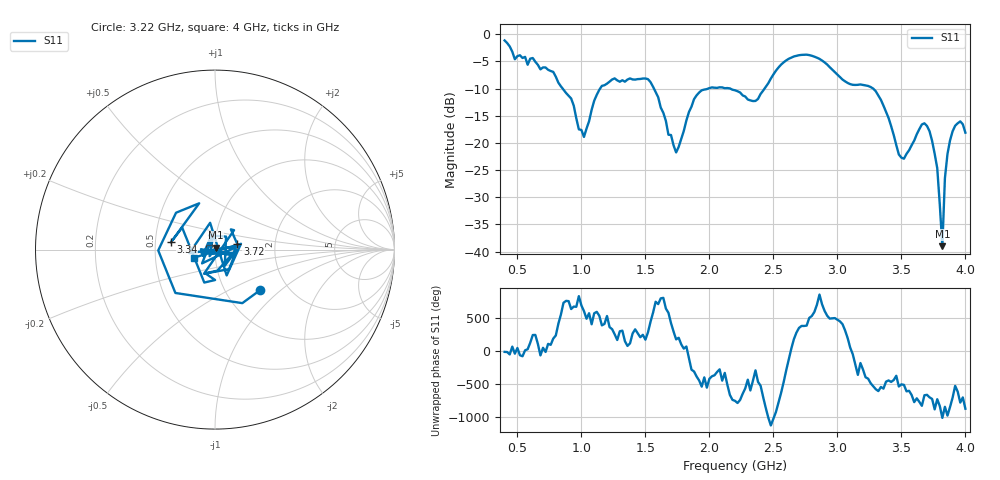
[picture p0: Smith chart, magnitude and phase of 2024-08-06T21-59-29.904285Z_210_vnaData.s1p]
!Created with skrf (http://scikit-rf.org).
# Hz S RI R 50.0
!freq ReS11 ImS11
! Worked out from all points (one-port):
!   181 points, 400 MHz to 4 GHz, reference 50 ohm
!   lowest |S11| = -39.0 dB at 3.82 GHz (marker M1), VSWR 1.02, Z = 50.5 + j1 ohm
!   |S11| at or under -10 dB: 854 MHz to 1.146 GHz (291.8 MHz wide, 29.2 % of centre); 1.567 GHz to 1.989 GHz (422.3 MHz wide, 23.8 % of centre); 3.28 GHz to end of sweep (the widest 3 of 4)
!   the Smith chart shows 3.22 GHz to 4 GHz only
!   S11 on the Smith chart (normalised r, x): 3.22 GHz: 1.46, -0.74; 3.34 GHz: 0.60, +0.05; 3.72 GHz: 1.28, +0.08; 4 GHz: 0.79, -0.07
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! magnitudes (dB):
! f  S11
! 400 MHz  -1.1
! 480 MHz  -4.6
! 620 MHz  -4.4
! 860 MHz  -10.2
! 1.02 GHz  -18.9
! 1.14 GHz  -10.2
! 1.3 GHz  -8.7
! 1.52 GHz  -8.3
! 1.74 GHz  -21.7
! 1.76 GHz  -20.7
! 1.92 GHz  -10.7
! 2.2 GHz  -10.3
! 2.36 GHz  -12.3
! 2.66 GHz  -4.1
! 2.86 GHz  -4.5
! 3.1 GHz  -9.2
! 3.22 GHz  -9.4
! 3.34 GHz  -12.1
! 3.48 GHz  -22.1
! 3.56 GHz  -21.3
! 3.66 GHz  -16.6
! 3.72 GHz  -17.9
! 3.78 GHz  -24.6
! 3.82 GHz  -39.0
! 3.84 GHz  -26.5
! 3.88 GHz  -19.5
! 3.96 GHz  -16.0
! 4 GHz  -18.1
